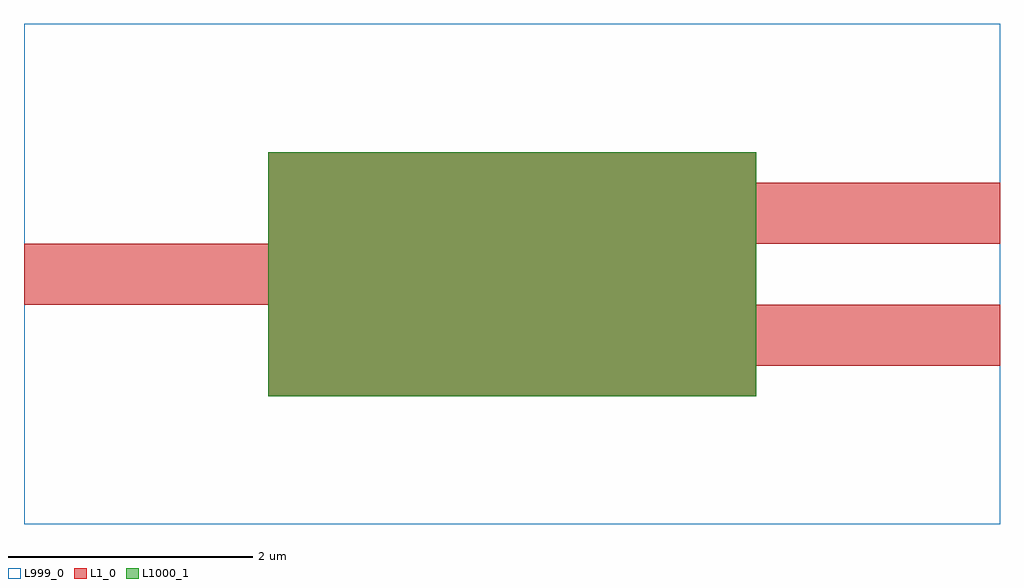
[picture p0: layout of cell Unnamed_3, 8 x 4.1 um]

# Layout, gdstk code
from math import pi, radians
import gdstk
lib = gdstk.Library(unit=1e-6, precision=1e-09)
def R(c, l, rs):  # rectangles x0, y0, x1, y1
    for r in rs: c.add(gdstk.rectangle(r[:2], r[2:], *l))
L1_0 = (1, 0)
L999_0 = (999, 0)
L1000_1 = (1000, 1)

straight_l2_n2_csstrip_w = lib.new_cell('straight_L2_N2_CSstrip_W0p5_LWG')
R(straight_l2_n2_csstrip_w, L1_0, [(0,-0.25,2,0.25)])

unnamed_0 = lib.new_cell('Unnamed_0')
R(unnamed_0, L1000_1, [(0,0,4,2)])

c_1x2_splitter = lib.new_cell('1x2_splitter')
R(c_1x2_splitter, L1_0, [(0,0,4,2)])
c_1x2_splitter.add(gdstk.Reference(straight_l2_n2_csstrip_w, (-2,1)))
c_1x2_splitter.add(gdstk.Reference(straight_l2_n2_csstrip_w, (6,0.5), rotation=pi))
c_1x2_splitter.add(gdstk.Reference(straight_l2_n2_csstrip_w, (6,1.5), rotation=pi))
c_1x2_splitter.add(gdstk.Reference(unnamed_0, (0,0)))

unnamed_3 = lib.new_cell('Unnamed_3')
R(unnamed_3, L999_0, [(-2,-1.05,6,3.05)])
unnamed_3.add(gdstk.Reference(c_1x2_splitter, (0,0)))

lib.write_gds('Unnamed_3.gds')
